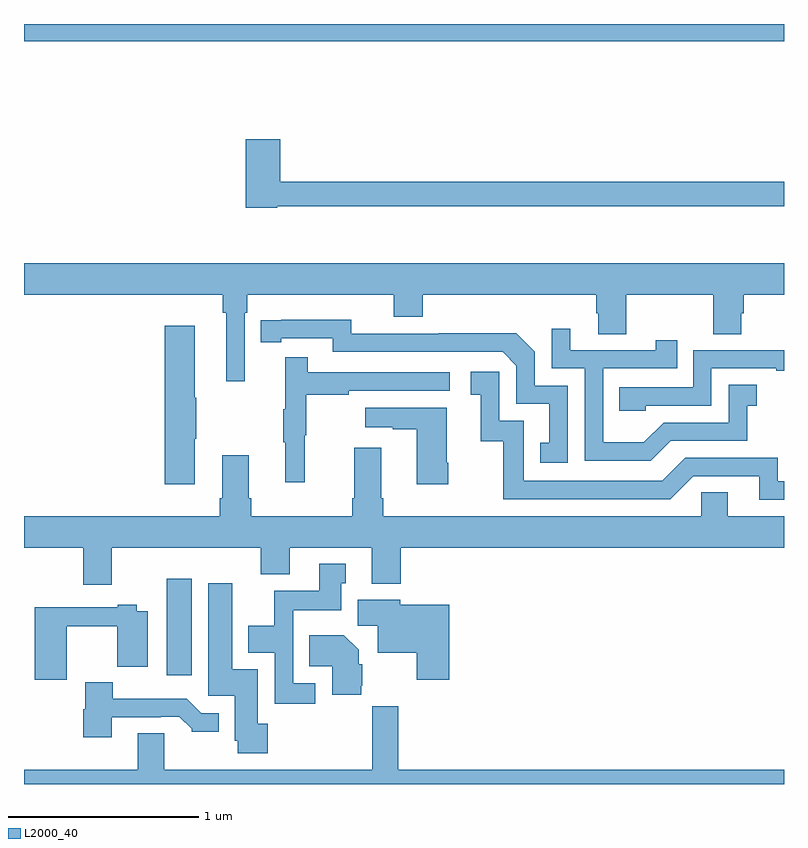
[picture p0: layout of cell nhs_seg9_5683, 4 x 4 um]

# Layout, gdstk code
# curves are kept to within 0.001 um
import gdstk
lib = gdstk.Library(unit=1e-6, precision=1e-09)
def R(c, l, rs):  # rectangles x0, y0, x1, y1
    for r in rs: c.add(gdstk.rectangle(r[:2], r[2:], *l))
def P(c, l, *ps):  # polygons
    for p in ps: c.add(gdstk.Polygon(p, *l))
L2000_40 = (2000, 40)

nhs_seg9_5683 = lib.new_cell('nhs_seg9_5683')
R(nhs_seg9_5683, L2000_40, [(441.752,1205.073,441.883,1205.581), (441,1208.408,445,1208.5)])
P(nhs_seg9_5683, L2000_40, [(442.332,1207.542),(445,1207.542),(445,1207.67),(442.349,1207.67),(442.349,1207.894),(442.166,1207.894),(442.166,1207.534),(442.332,1207.534)],
  [(441,1207.076),(442.045,1207.076),(442.045,1206.98),(442.064,1206.98),(442.064,1206.621),(442.161,1206.621),(442.161,1206.98),(442.175,1206.98),(442.175,1207.076),(442.946,1207.076),(442.946,1206.959),(443.099,1206.959),(443.099,1207.076),(444.011,1207.076),(444.011,1206.978),(444.023,1206.978),(444.023,1206.868),(444.171,1206.868),(444.171,1207.076),(444.628,1207.076),(444.628,1206.868),(444.775,1206.868),(444.775,1206.978),(444.788,1206.978),(444.788,1207.076),(445,1207.076),(445,1207.24),(441,1207.24)],
  [(443.862,1206.597),(443.688,1206.597),(443.688,1206.774),(443.59,1206.872),(443.182,1206.872),(443.182,1206.87),(442.722,1206.87),(442.722,1206.943),(442.246,1206.942),(442.246,1206.826),(442.354,1206.826),(442.354,1206.846),(442.626,1206.846),(442.626,1206.774),(443.52,1206.774),(443.592,1206.702),(443.592,1206.501),(443.765,1206.501),(443.765,1206.297),(443.716,1206.297),(443.716,1206.192),(443.862,1206.192)],
  [(441.898,1206.316),(441.906,1206.316),(441.906,1206.533),(441.898,1206.533),(441.898,1206.913),(441.74,1206.913),(441.74,1206.078),(441.898,1206.078)],
  [(444.403,1206.306),(444.807,1206.306),(444.807,1206.491),(444.856,1206.491),(444.856,1206.601),(444.708,1206.601),(444.708,1206.402),(444.366,1206.402),(444.262,1206.298),(444.048,1206.298),(444.048,1206.687),(444.437,1206.687),(444.437,1206.835),(444.326,1206.835),(444.326,1206.783),(443.875,1206.783),(443.875,1206.895),(443.778,1206.895),(443.778,1206.687),(443.952,1206.687),(443.952,1206.201),(444.298,1206.201)],
  [(444.273,1206.492),(444.618,1206.492),(444.618,1206.687),(444.959,1206.687),(444.959,1206.675),(445,1206.675),(445,1206.783),(444.522,1206.783),(444.522,1206.588),(444.133,1206.588),(444.133,1206.465),(444.273,1206.465)],
  [(442.478,1206.336),(442.486,1206.336),(442.486,1206.55),(442.709,1206.55),(442.709,1206.57),(443.242,1206.57),(443.242,1206.666),(442.493,1206.666),(442.493,1206.745),(442.376,1206.745),(442.376,1206.473),(442.365,1206.473),(442.365,1206.299),(442.376,1206.299),(442.376,1206.087),(442.478,1206.087)],
  [(445,1206.093),(444.966,1206.093),(444.966,1206.216),(444.48,1206.216),(444.36,1206.096),(443.631,1206.096),(443.631,1206.411),(443.502,1206.411),(443.502,1206.67),(443.352,1206.67),(443.352,1206.549),(443.405,1206.549),(443.405,1206.303),(443.523,1206.303),(443.523,1206),(444.402,1206),(444.522,1206.12),(444.869,1206.12),(444.869,1205.997),(445,1205.997)],
  [(443.232,1206.19),(443.224,1206.19),(443.224,1206.481),(442.797,1206.481),(442.797,1206.377),(442.94,1206.377),(442.94,1206.367),(443.066,1206.367),(443.066,1206.078),(443.232,1206.078)],
  [(441.463,1205.744),(442.247,1205.744),(442.247,1205.603),(442.399,1205.603),(442.399,1205.744),(442.829,1205.744),(442.829,1205.555),(442.982,1205.555),(442.982,1205.744),(445,1205.744),(445,1205.908),(444.703,1205.908),(444.703,1206.035),(444.564,1206.035),(444.564,1205.908),(442.892,1205.908),(442.892,1206.004),(442.879,1206.004),(442.879,1206.271),(442.739,1206.271),(442.739,1206.004),(442.727,1206.004),(442.727,1205.908),(442.196,1205.908),(442.196,1206.004),(442.183,1206.004),(442.183,1206.229),(442.043,1206.229),(442.043,1206.004),(442.031,1206.004),(442.031,1205.908),(441,1205.908),(441,1205.744),(441.311,1205.744),(441.311,1205.55),(441.463,1205.55)],
  [(442.534,1205.031),(442.416,1205.031),(442.416,1205.414),(442.669,1205.414),(442.669,1205.556),(442.693,1205.556),(442.693,1205.659),(442.553,1205.659),(442.553,1205.518),(442.318,1205.518),(442.318,1205.332),(442.181,1205.332),(442.181,1205.192),(442.32,1205.192),(442.32,1204.923),(442.534,1204.923)],
  [(442.283,1204.818),(442.231,1204.818),(442.231,1205.104),(442.096,1205.104),(442.096,1205.557),(441.971,1205.557),(441.971,1204.965),(442.109,1204.965),(442.109,1204.728),(442.126,1204.728),(442.126,1204.662),(442.283,1204.662)],
  [(443.237,1205.443),(442.98,1205.443),(442.98,1205.47),(442.757,1205.47),(442.757,1205.332),(442.862,1205.332),(442.862,1205.192),(443.066,1205.192),(443.066,1205.049),(443.237,1205.049)],
  [(441.226,1205.329),(441.49,1205.329),(441.49,1205.117),(441.652,1205.117),(441.652,1205.41),(441.594,1205.41),(441.594,1205.443),(441.494,1205.443),(441.494,1205.43),(441.056,1205.43),(441.056,1205.049),(441.226,1205.049)],
  [(442.775,1205.016),(442.78,1205.016),(442.78,1205.13),(442.762,1205.13),(442.762,1205.206),(442.684,1205.284),(442.501,1205.284),(442.501,1205.12),(442.622,1205.12),(442.622,1204.97),(442.775,1204.97)],
  [(441.463,1204.851),(441.719,1204.851),(441.719,1204.854),(441.818,1204.854),(441.882,1204.79),(441.882,1204.775),(442.024,1204.775),(442.024,1204.872),(441.933,1204.872),(441.857,1204.948),(441.466,1204.948),(441.466,1205.035),(441.323,1205.035),(441.323,1204.893),(441.311,1204.893),(441.311,1204.746),(441.463,1204.746)],
  [(445,1204.576),(442.97,1204.576),(442.97,1204.909),(442.834,1204.909),(442.834,1204.576),(441.739,1204.576),(441.739,1204.766),(441.599,1204.766),(441.599,1204.576),(441,1204.576),(441,1204.5),(445,1204.5)])

lib.write_gds('nhs_seg9_5683.gds')
